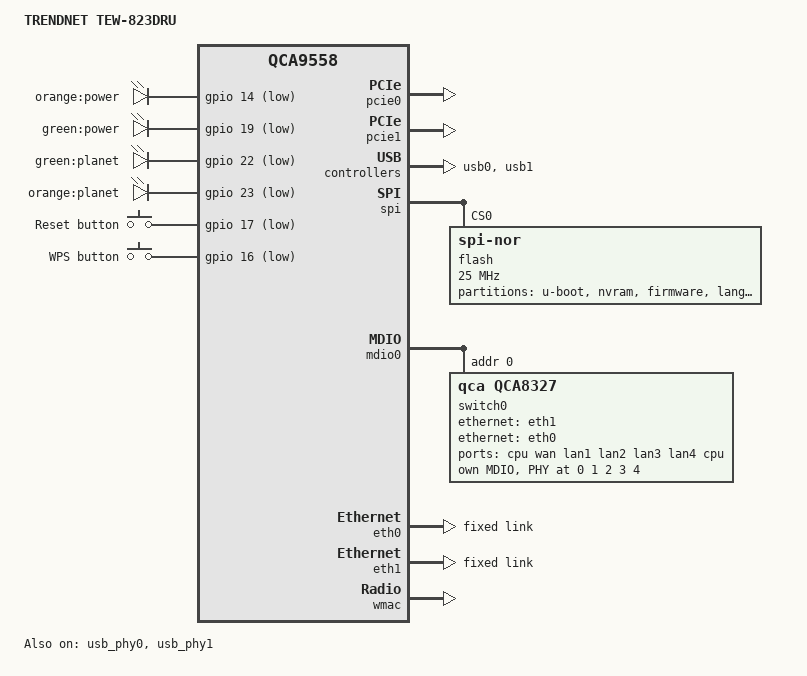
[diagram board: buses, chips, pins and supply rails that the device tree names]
// SPDX-License-Identifier: GPL-2.0-or-later OR MIT

#include "qca955x.dtsi"

#include <dt-bindings/gpio/gpio.h>
#include <dt-bindings/input/input.h>

/ {
	compatible = "trendnet,tew-823dru", "qca,qca9558";
	model = "TRENDNET TEW-823DRU";

	aliases {
		led-boot = &led_power_green;
		led-failsafe = &led_power_green;
		led-running = &led_power_green;
		led-upgrade = &led_power_green;
	};

	leds {
		compatible = "gpio-leds";

		power_orange {
			label = "orange:power";
			gpios = <&gpio 14 GPIO_ACTIVE_LOW>;
		};

		led_power_green: power_green {
			label = "green:power";
			gpios = <&gpio 19 GPIO_ACTIVE_LOW>;
		};

		planet_green {
			label = "green:planet";
			gpios = <&gpio 22 GPIO_ACTIVE_LOW>;
		};

		planet_orange {
			label = "orange:planet";
			gpios = <&gpio 23 GPIO_ACTIVE_LOW>;
		};
	};

	keys {
		compatible = "gpio-keys";

		reset {
			label = "Reset button";
			linux,code = <KEY_RESTART>;
			gpios = <&gpio 17 GPIO_ACTIVE_LOW>;
			debounce-interval = <60>;
		};

		wps {
			label = "WPS button";
			linux,code = <KEY_WPS_BUTTON>;
			gpios = <&gpio 16 GPIO_ACTIVE_LOW>;
			debounce-interval = <60>;
		};
	};
};

&pcie0 {
	status = "okay";
};

&pcie1 {
	status = "okay";
};

&usb_phy0 {
	status = "okay";
};

&usb0 {
	#address-cells = <1>;
	#size-cells = <0>;
	status = "okay";

	hub_port0: port@1 {
		reg = <1>;
		#trigger-source-cells = <0>;
	};
};

&usb_phy1 {
	status = "okay";
};

&usb1 {
	#address-cells = <1>;
	#size-cells = <0>;
	status = "okay";

	hub_port1: port@1 {
		reg = <1>;
		#trigger-source-cells = <0>;
	};
};

&spi {
	status = "okay";

	flash@0 {
		compatible = "jedec,spi-nor";
		reg = <0>;
		spi-max-frequency = <25000000>;

		partitions {
			compatible = "fixed-partitions";
			#address-cells = <1>;
			#size-cells = <1>;

			partition@0 {
				label = "u-boot";
				reg = <0x000000 0x030000>;
				read-only;
			};

			partition@30000 {
				label = "nvram";
				reg = <0x030000 0x010000>;
				read-only;
			};

			partition@40000 {
				compatible = "denx,uimage";
				label = "firmware";
				reg = <0x040000 0xef0000>;
			};

			partition@f30000 {
				label = "lang";
				reg = <0xf30000 0x030000>;
				read-only;
			};

			partition@f60000 {
				label = "my-dlink";
				reg = <0xf60000 0x080000>;
				read-only;
			};

			partition@fe0000 {
				label = "mac";
				reg = <0xfe0000 0x010000>;
				read-only;
			};

			art: partition@ff0000 {
				label = "art";
				reg = <0xff0000 0x010000>;
				read-only;
			};
		};
	};
};

&mdio0 {
	status = "okay";

	switch0@10 {
		compatible = "qca,qca8327";
		#address-cells = <1>;
		#size-cells = <0>;

		reg = <0>;
		qca,ignore-power-on-sel;
		qca,led-open-drain;

		ports {
			#address-cells = <1>;
			#size-cells = <0>;

			port@0 {
				reg = <0>;
				label = "cpu";
				ethernet = <&eth1>;
				phy-mode = "sgmii";
				qca,sgmii-rxclk-falling-edge;

				fixed-link {
					speed = <1000>;
					full-duplex;
				};
			};

			port@1 {
				reg = <1>;
				label = "wan";
				phy-mode = "internal";
				phy-handle = <&phy_port1>;
			};

			port@2 {
				reg = <2>;
				label = "lan1";
				phy-mode = "internal";
				phy-handle = <&phy_port2>;
			};

			port@3 {
				reg = <3>;
				label = "lan2";
				phy-mode = "internal";
				phy-handle = <&phy_port3>;
			};

			port@4 {
				reg = <4>;
				label = "lan3";
				phy-mode = "internal";
				phy-handle = <&phy_port4>;
			};

			port@5 {
				reg = <5>;
				label = "lan4";
				phy-mode = "internal";
				phy-handle = <&phy_port5>;
			};

			port@6 {
				reg = <6>;
				label = "cpu";
				ethernet = <&eth0>;
				phy-mode = "rgmii-id";

				fixed-link {
					speed = <1000>;
					full-duplex;
				};
			};
		};

		mdio {
			#address-cells = <1>;
			#size-cells = <0>;

			phy_port1: phy@0 {
				reg = <0>;
			};

			phy_port2: phy@1 {
				reg = <1>;
			};

			phy_port3: phy@2 {
				reg = <2>;
			};

			phy_port4: phy@3 {
				reg = <3>;
			};

			phy_port5: phy@4 {
				reg = <4>;
			};
		};
	};
};

&eth0 {
	status = "okay";

	pll-data = <0x56000000 0x00000101 0x00001616>;

	gmac-config {
		device = <&gmac>;
		rgmii-enabled = <1>;
	};

	fixed-link {
		speed = <1000>;
		full-duplex;
	};
};

&eth1 {
	status = "okay";

	pll-data = <0x03000101 0x00000101 0x00001616>;

	fixed-link {
		speed = <1000>;
		full-duplex;
	};
};

&wmac {
	status = "okay";

	mtd-cal-data = <&art 0x1000>;
};
